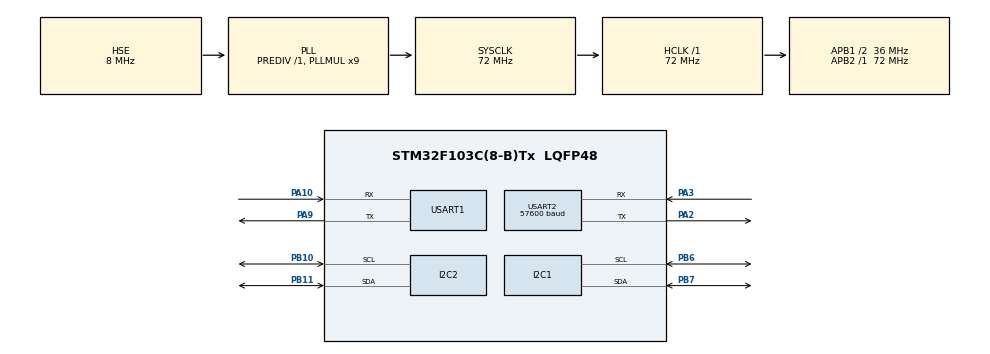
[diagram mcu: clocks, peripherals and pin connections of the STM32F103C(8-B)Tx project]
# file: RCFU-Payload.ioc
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Dma.Request0=USART2_RX
Dma.USART2_RX.0.Direction=DMA_PERIPH_TO_MEMORY
Dma.USART2_RX.0.Instance=DMA1_Channel6
Dma.USART2_RX.0.MemDataAlignment=DMA_MDATAALIGN_BYTE
Dma.USART2_RX.0.MemInc=DMA_MINC_ENABLE
Dma.USART2_RX.0.Mode=DMA_NORMAL
Dma.USART2_RX.0.PeriphDataAlignment=DMA_PDATAALIGN_BYTE
Dma.USART2_RX.0.PeriphInc=DMA_PINC_DISABLE
Dma.USART2_RX.0.Priority=DMA_PRIORITY_LOW
Mcu.Family=STM32F1
Mcu.Name=STM32F103C(8-B)Tx
Mcu.Package=LQFP48
NVIC.DMA1_Channel6_IRQn=true\:0\:0\:false\:false\:true\:false\:true
NVIC.PriorityGroup=NVIC_PRIORITYGROUP_4
NVIC.USART2_IRQn=true\:0\:0\:false\:false\:true\:true\:true
PA10.Mode=Asynchronous
PA10.Signal=USART1_RX
PA13.Mode=Serial_Wire
PA13.Signal=SYS_JTMS-SWDIO
PA14.Mode=Serial_Wire
PA14.Signal=SYS_JTCK-SWCLK
PA2.Mode=Asynchronous
PA2.Signal=USART2_TX
PA3.Mode=Asynchronous
PA3.Signal=USART2_RX
PA9.Mode=Asynchronous
PA9.Signal=USART1_TX
PB10.Mode=I2C
PB10.Signal=I2C2_SCL
PB11.Mode=I2C
PB11.Signal=I2C2_SDA
PB6.Mode=I2C
PB6.Signal=I2C1_SCL
PB7.Mode=I2C
PB7.Signal=I2C1_SDA
PD0-OSC_IN.Mode=HSE-External-Oscillator
PD0-OSC_IN.Signal=RCC_OSC_IN
PD1-OSC_OUT.Mode=HSE-External-Oscillator
PD1-OSC_OUT.Signal=RCC_OSC_OUT
ProjectManager.HeapSize=0x200
ProjectManager.StackSize=0x400
ProjectManager.TargetToolchain=TrueSTUDIO
RCC.AHBFreq_Value=72000000
RCC.APB1CLKDivider=RCC_HCLK_DIV2
RCC.APB1Freq_Value=36000000
RCC.APB1TimFreq_Value=72000000
RCC.APB2Freq_Value=72000000
RCC.APB2TimFreq_Value=72000000
RCC.HCLKFreq_Value=72000000
RCC.PLLMUL=RCC_PLL_MUL9
RCC.PLLSourceVirtual=RCC_PLLSOURCE_HSE
RCC.SYSCLKFreq_VALUE=72000000
RCC.SYSCLKSource=RCC_SYSCLKSOURCE_PLLCLK
RCC.USBFreq_Value=72000000
USART1.VirtualMode=VM_ASYNC
USART2.BaudRate=57600
USART2.VirtualMode=VM_ASYNC
board=custom

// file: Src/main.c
/* USER CODE BEGIN Header */
/**
  ******************************************************************************
  * @file           : main.c
  * @brief          : Main program body
  ******************************************************************************
  * @attention
  *
  * <h2><center>&copy; Copyright (c) 2019 STMicroelectronics.
  * All rights reserved.</center></h2>
  *
  * This software component is licensed by ST under BSD 3-Clause license,
  * the "License"; You may not use this file except in compliance with the
  * License. You may obtain a copy of the License at:
  *                        opensource.org/licenses/BSD-3-Clause
  *
  ******************************************************************************
  */
/* USER CODE END Header */

#include "main.h"
#include "dma.h"
#include "i2c.h"
#include "usart.h"
#include "gpio.h"

/* USER CODE BEGIN Includes */
#include "BMP180.h"
#include "GPS.h"

/* USER CODE END Includes */

/* USER CODE BEGIN PD */
#define STM32F1_Devices
/* USER CODE END PD */

/* USER CODE BEGIN PV */
BMP180_HandleTypeDef BMP180;
GPS_HandleTypeDef GPS;
/* USER CODE END PV */

void SystemClock_Config(void);

int main(void)
{

  /* MCU Configuration--------------------------------------------------------*/

  /* Reset of all peripherals, Initializes the Flash interface and the Systick. */
  HAL_Init();

  /* Configure the system clock */
  SystemClock_Config();

  /* Initialize all configured peripherals */
  MX_GPIO_Init();
  MX_DMA_Init();
  MX_I2C1_Init();
  MX_I2C2_Init();
  MX_USART1_UART_Init();
  MX_USART2_UART_Init();
  /* USER CODE BEGIN 2 */
  initBMP180(&BMP180,hi2c1);
  isBMP180Ready(&BMP180);
  calibrateBMP180(&BMP180);

  initGPS(&GPS,huart2);
  isGPSReady(&GPS);
  /* USER CODE END 2 */

  /* Infinite loop */
  while (1)
  {

  }
}

void SystemClock_Config(void)
{
  RCC_OscInitTypeDef RCC_OscInitStruct = {0};
  RCC_ClkInitTypeDef RCC_ClkInitStruct = {0};

  /** Initializes the CPU, AHB and APB busses clocks
  */
  RCC_OscInitStruct.OscillatorType = RCC_OSCILLATORTYPE_HSE;
  RCC_OscInitStruct.HSEState = RCC_HSE_ON;
  RCC_OscInitStruct.HSEPredivValue = RCC_HSE_PREDIV_DIV1;
  RCC_OscInitStruct.HSIState = RCC_HSI_ON;
  RCC_OscInitStruct.PLL.PLLState = RCC_PLL_ON;
  RCC_OscInitStruct.PLL.PLLSource = RCC_PLLSOURCE_HSE;
  RCC_OscInitStruct.PLL.PLLMUL = RCC_PLL_MUL9;
  if (HAL_RCC_OscConfig(&RCC_OscInitStruct) != HAL_OK)
  {
    Error_Handler();
  }
  /** Initializes the CPU, AHB and APB busses clocks
  */
  RCC_ClkInitStruct.ClockType = RCC_CLOCKTYPE_HCLK|RCC_CLOCKTYPE_SYSCLK
                              |RCC_CLOCKTYPE_PCLK1|RCC_CLOCKTYPE_PCLK2;
  RCC_ClkInitStruct.SYSCLKSource = RCC_SYSCLKSOURCE_PLLCLK;
  RCC_ClkInitStruct.AHBCLKDivider = RCC_SYSCLK_DIV1;
  RCC_ClkInitStruct.APB1CLKDivider = RCC_HCLK_DIV2;
  RCC_ClkInitStruct.APB2CLKDivider = RCC_HCLK_DIV1;

  if (HAL_RCC_ClockConfig(&RCC_ClkInitStruct, FLASH_LATENCY_2) != HAL_OK)
  {
    Error_Handler();
  }
}

/* USER CODE BEGIN 4 */
void HAL_UART_RxCpltCallback(UART_HandleTypeDef *huart)
{
  if(huart->Instance == USART2){
		if(GPS.checkBuffer == 36){
			GPS.packageFind = 1;
		}

	 if(GPS.checkBuffer != 10 && GPS.packageFind == 1){
		GPS.gpsBuffer[GPS.gpsIndex] = GPS.checkBuffer;
		GPS.gpsIndex++;
	 }else{
		GPS.gpsBuffer[GPS.gpsIndex] = GPS.checkBuffer;
		parseGPS(&GPS);
		GPS.gpsIndex = 0;
		GPS.packageFind = 0;
	 }

	 HAL_UART_Receive_DMA(&huart2,&GPS.checkBuffer,1);
	}
}
/* USER CODE END 4 */

void Error_Handler(void)
{
}

/************************ (C) COPYRIGHT STMicroelectronics *****END OF FILE****/
